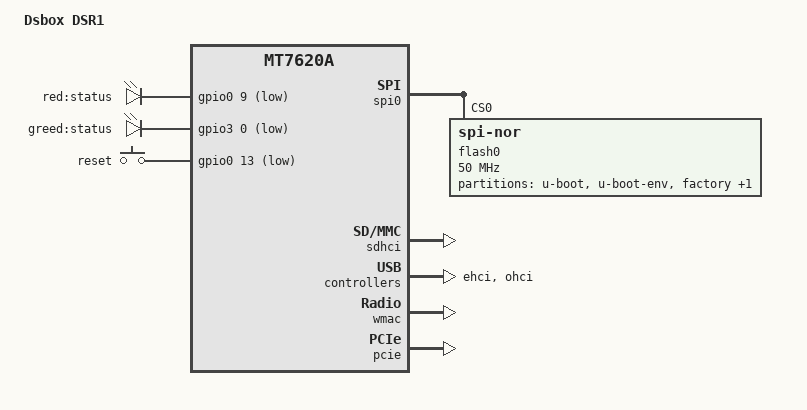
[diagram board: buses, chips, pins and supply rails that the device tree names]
// SPDX-License-Identifier: GPL-2.0-or-later OR MIT

#include "mt7620a.dtsi"

#include <dt-bindings/gpio/gpio.h>
#include <dt-bindings/input/input.h>

/ {
	compatible = "dsbox,dsr1", "ralink,mt7620a-soc";
	model = "Dsbox DSR1";

	aliases {
		led-boot = &led_red;
		led-failsafe = &led_red;
		led-running = &led_green;
		led-upgrade = &led_red;
		label-mac-device = &ethernet;
	};

	leds {
		compatible = "gpio-leds";

		led_red: red {
			label = "red:status";
			gpios = <&gpio0 9 GPIO_ACTIVE_LOW>;
		};

		led_green: green {
			label = "greed:status";
			gpios = <&gpio3 0 GPIO_ACTIVE_LOW>;
		};
	};

	keys {
		compatible = "gpio-keys";

		reset {
			label = "reset";
			gpios = <&gpio0 13 GPIO_ACTIVE_LOW>;
			linux,code = <KEY_RESTART>;
		};
	};
};

&gpio1 {
	status = "okay";
};

&gpio3 {
	status = "okay";
};

&spi0 {
	status = "okay";

	flash0: flash@0 {
		compatible = "jedec,spi-nor";
		reg = <0>;
		spi-max-frequency = <50000000>;
		broken-flash-reset;

		partitions {
			compatible = "fixed-partitions";
			#address-cells = <1>;
			#size-cells = <1>;

			partition@0 {
				label = "u-boot";
				reg = <0x0 0x30000>;
			};

			partition@30000 {
				label = "u-boot-env";
				reg = <0x30000 0x10000>;
				read-only;
			};

			factory: partition@40000 {
				label = "factory";
				reg = <0x40000 0x10000>;
				read-only;
			};

			partition@50000 {
				compatible = "openwrt,uimage", "denx,uimage";
				label = "firmware";
				reg = <0x50000 0x1fb0000>;
			};
		};
	};
};

&sdhci {
	status = "okay";
};

&ehci {
	status = "okay";
};

&ohci {
	status = "okay";
};

&ethernet {
	pinctrl-names = "default";
	pinctrl-0 = <&ephy_pins>;

	nvmem-cells = <&macaddr_factory_4>;
	nvmem-cell-names = "mac-address";

	mediatek,portmap = "llllw";
};

&wmac {
	ralink,mtd-eeprom = <&factory 0x0>;

	pinctrl-names = "default", "pa_gpio";
	pinctrl-0 = <&pa_pins>;
	pinctrl-1 = <&pa_gpio_pins>;
};

&pcie {
	status = "okay";
};

&pcie0 {
	mt76@0,0 {
		reg = <0x0000 0 0 0 0>;
		mediatek,mtd-eeprom = <&factory 0x8000>;
		ieee80211-freq-limit = <5000000 6000000>;
	};
};

&state_default {
	default {
		groups = "i2c", "rgmii1", "wled";
		function = "gpio";
	};
};

&factory {
	compatible = "nvmem-cells";
	#address-cells = <1>;
	#size-cells = <1>;

	macaddr_factory_4: macaddr@4 {
		reg = <0x4 0x6>;
	};
};
